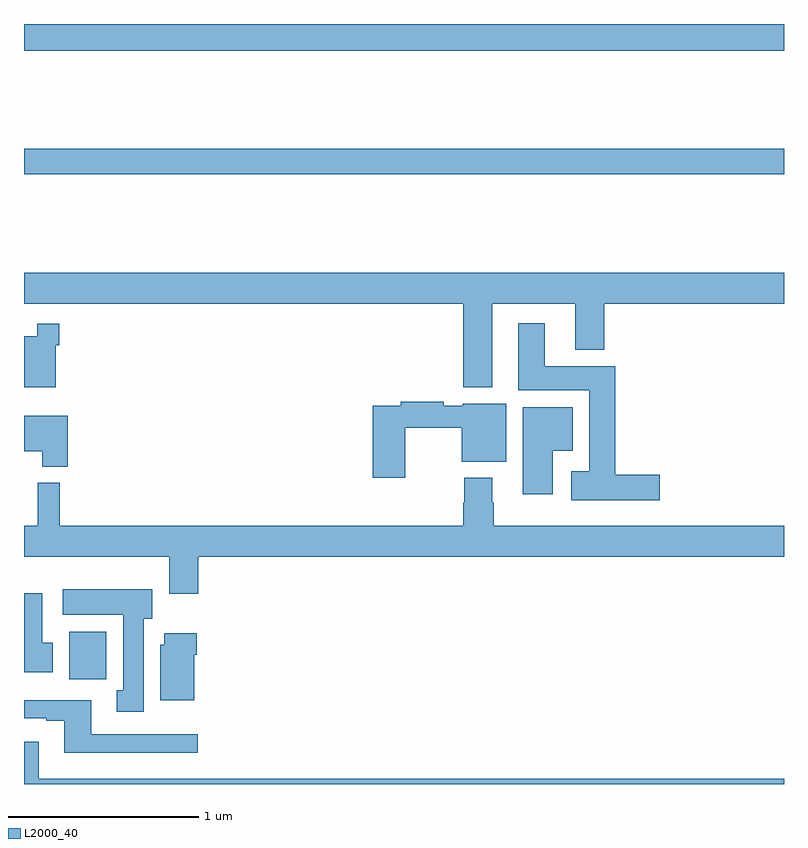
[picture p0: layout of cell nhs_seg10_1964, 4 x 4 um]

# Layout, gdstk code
import gdstk
lib = gdstk.Library(unit=1e-6, precision=1e-09)
def R(c, l, rs):  # rectangles x0, y0, x1, y1
    for r in rs: c.add(gdstk.rectangle(r[:2], r[2:], *l))
def P(c, l, *ps):  # polygons
    for p in ps: c.add(gdstk.Polygon(p, *l))
L2000_40 = (2000, 40)

nhs_seg10_1964 = lib.new_cell('nhs_seg10_1964')
R(nhs_seg10_1964, L2000_40, [(215.237,1253.052,215.433,1253.302), (215,1255.708,219,1255.844), (215,1256.36,219,1256.5)])
P(nhs_seg10_1964, L2000_40, [(217.465,1255.028),(217.901,1255.028),(217.901,1254.785),(218.054,1254.785),(218.054,1255.028),(219,1255.028),(219,1255.192),(215,1255.192),(215,1255.028),(217.313,1255.028),(217.313,1254.587),(217.465,1254.587)],
  [(218.347,1254.128),(218.111,1254.128),(218.111,1254.7),(217.741,1254.7),(217.741,1254.925),(217.601,1254.925),(217.601,1254.572),(217.976,1254.572),(217.976,1254.145),(217.881,1254.145),(217.881,1253.993),(218.347,1253.993)],
  [(215.166,1254.809),(215.186,1254.809),(215.186,1254.922),(215.07,1254.922),(215.07,1254.856),(215,1254.856),(215,1254.587),(215.166,1254.587)],
  [(217.006,1254.376),(217.304,1254.376),(217.304,1254.197),(217.537,1254.197),(217.537,1254.502),(217.308,1254.502),(217.308,1254.492),(217.208,1254.492),(217.208,1254.512),(216.982,1254.512),(216.982,1254.492),(216.836,1254.492),(216.836,1254.111),(217.006,1254.111)],
  [(217.783,1254.254),(217.888,1254.254),(217.888,1254.484),(217.625,1254.484),(217.625,1254.024),(217.783,1254.024)],
  [(215.231,1254.439),(215,1254.439),(215,1254.251),(215.096,1254.251),(215.096,1254.17),(215.231,1254.17)],
  [(215.918,1253.696),(219,1253.696),(219,1253.86),(217.473,1253.86),(217.473,1253.981),(217.465,1253.981),(217.465,1254.112),(217.318,1254.112),(217.318,1253.981),(217.313,1253.981),(217.313,1253.86),(215.189,1253.86),(215.189,1254.085),(215.072,1254.085),(215.072,1253.86),(215,1253.86),(215,1253.696),(215.765,1253.696),(215.765,1253.502),(215.918,1253.502)],
  [(215.629,1253.37),(215.674,1253.37),(215.674,1253.524),(215.205,1253.524),(215.205,1253.39),(215.522,1253.39),(215.522,1252.993),(215.489,1252.993),(215.489,1252.881),(215.629,1252.881)],
  [(215.152,1253.244),(215.095,1253.244),(215.095,1253.503),(215,1253.503),(215,1253.088),(215.152,1253.088)],
  [(215.896,1253.18),(215.909,1253.18),(215.909,1253.293),(215.738,1253.293),(215.738,1253.232),(215.717,1253.232),(215.717,1252.94),(215.896,1252.94)],
  [(215.914,1252.761),(215.353,1252.761),(215.353,1252.942),(215,1252.942),(215,1252.845),(215.117,1252.845),(215.117,1252.833),(215.213,1252.833),(215.213,1252.664),(215.914,1252.664)],
  [(219,1252.528),(215.077,1252.528),(215.077,1252.723),(215,1252.723),(215,1252.5),(219,1252.5)])

lib.write_gds('nhs_seg10_1964.gds')
